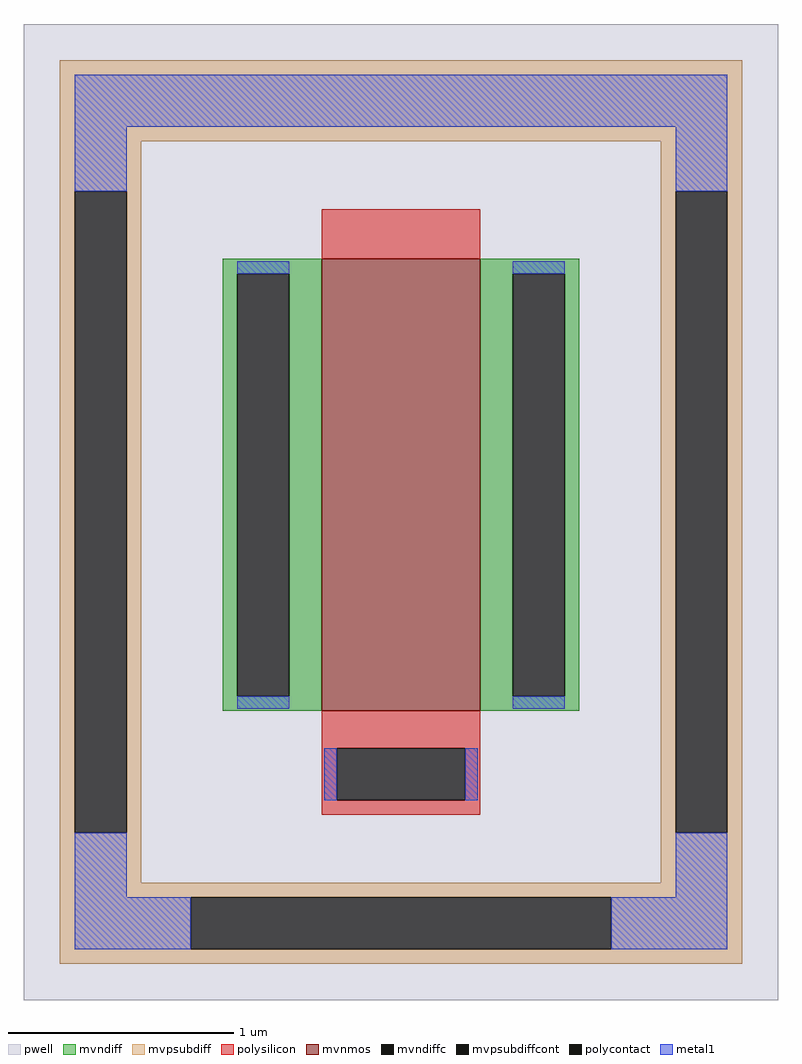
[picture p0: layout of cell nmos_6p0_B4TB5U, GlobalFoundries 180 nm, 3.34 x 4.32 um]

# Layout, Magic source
magic
tech gf180mcuD
magscale 1 10
<< pwell >>
rect -334 -432 334 432
<< mvnmos >>
rect -70 -176 70 224
<< mvndiff >>
rect -158 211 -70 224
rect -158 -163 -145 211
rect -99 -163 -70 211
rect -158 -176 -70 -163
rect 70 211 158 224
rect 70 -163 99 211
rect 145 -163 158 211
rect 70 -176 158 -163
<< mvndiffc >>
rect -145 -163 -99 211
rect 99 -163 145 211
<< mvpsubdiff >>
rect -302 328 302 400
rect -302 284 -230 328
rect -302 -284 -289 284
rect -243 -284 -230 284
rect 230 284 302 328
rect -302 -328 -230 -284
rect 230 -284 243 284
rect 289 -284 302 284
rect 230 -328 302 -284
rect -302 -341 302 -328
rect -302 -387 -186 -341
rect 186 -387 302 -341
rect -302 -400 302 -387
<< mvpsubdiffcont >>
rect -289 -284 -243 284
rect 243 -284 289 284
rect -186 -387 186 -341
<< polysilicon >>
rect -70 224 70 268
rect -70 -209 70 -176
rect -70 -255 -57 -209
rect 57 -255 70 -209
rect -70 -268 70 -255
<< polycontact >>
rect -57 -255 57 -209
<< metal1 >>
rect -289 341 289 387
rect -289 284 -243 341
rect 243 284 289 341
rect -145 211 -99 222
rect -145 -174 -99 -163
rect 99 211 145 222
rect 99 -174 145 -163
rect -68 -255 -57 -209
rect 57 -255 68 -209
rect -289 -341 -243 -284
rect 243 -341 289 -284
rect -289 -387 -186 -341
rect 186 -387 289 -341
<< properties >>
string FIXED_BBOX -266 -364 266 364
string gencell nmos_6p0
string library gf180mcu
string parameters w 2.0 l 0.7 m 1 nf 1 diffcov 100 polycov 100 guard 1 glc 1 grc 1 gtc 0 gbc 1 tbcov 100 rlcov 100 topc 0 botc 1 poverlap 0 doverlap 1 lmin 0.6 wmin 0.3 full_metal 1 compatible {nmos_3p3 nmos_6p0 nmos_6p0_nat}
<< end >>
